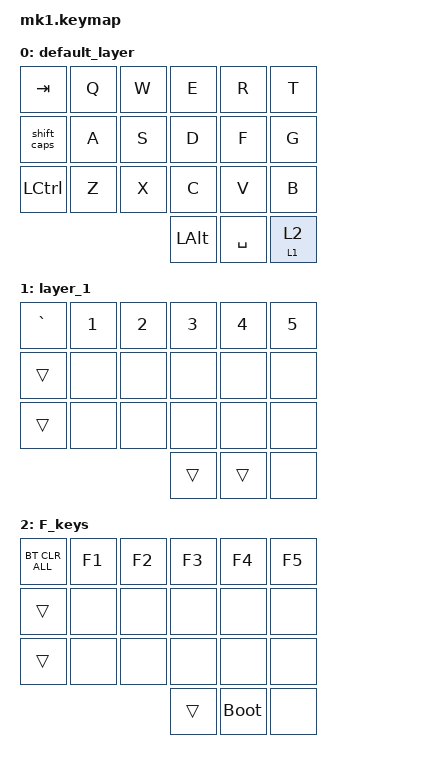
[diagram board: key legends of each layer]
#include <behaviors.dtsi>
#include <dt-bindings/zmk/keys.h>
#include <dt-bindings/zmk/bt.h>

/ {
    behaviors {
        shift_caps: shift_caps {
            compatible = "zmk,behavior-tap-dance";
            #binding-cells = <0>;
            tapping-term-ms = <200>;
            bindings = <&kp LSHIFT>, <&kp CAPS>;
        };
        slmo: sticky_momentary_layer {
            compatible = "zmk,behavior-hold-tap";
            label = "STICKY_MOMENTARY_LAYER";
            #binding-cells = <2>;
            tapping-term-ms = <200>;
            quick-tap-ms = <0>;
            flavor = "tap-preferred";
            bindings = <&mo>, <&sl>; // Hold for layer 1, tap for sticky layer 2
        }; 
        lt_alt: layer_tap_alt {
            compatible = "zmk,behavior-hold-tap";
            label = "LAYER_TAP_ALT";
            #binding-cells = <2>;
            tapping-term-ms = <200>;
            quick-tap-ms = <0>;
            flavor = "hold-preferred";
            bindings = <&kp>, <&mo>;  // Hold for ALT, tap for momentary layer
        };
    };

    keymap {    
        compatible = "zmk,keymap";

        // Default Layer
        default_layer {
            bindings = < 
                &kp TAB         &kp Q      &kp W        &kp E       &kp R       &kp T  
                &shift_caps     &kp A      &kp S        &kp D       &kp F       &kp G 
                &kp LCTRL       &kp Z      &kp X        &kp C       &kp V       &kp B 
                                                        &kp LALT    &kp SPACE   &slmo 1 2
            >;
        };

        // Layer 1 (Activated on hold)
        layer_1 {
            bindings = <
                &kp GRAVE   &kp N1      &kp N2      &kp N3      &kp N4      &kp N5
                &trans      &none       &none       &none       &none       &none
                &trans      &none       &none       &none       &none       &none
                                                    &trans      &trans      &none
            >;
        };

        // Layer 2 (Activated on tap)
        F_keys {
            bindings = <
                &bt BT_CLR_ALL  &kp F1      &kp F2      &kp F3      &kp F4      &kp F5
                &trans          &none       &none       &none       &none       &none
                &trans          &none       &none       &none       &none       &none
                                                        &trans      &bootloader &none
            >;
        };
    };
};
